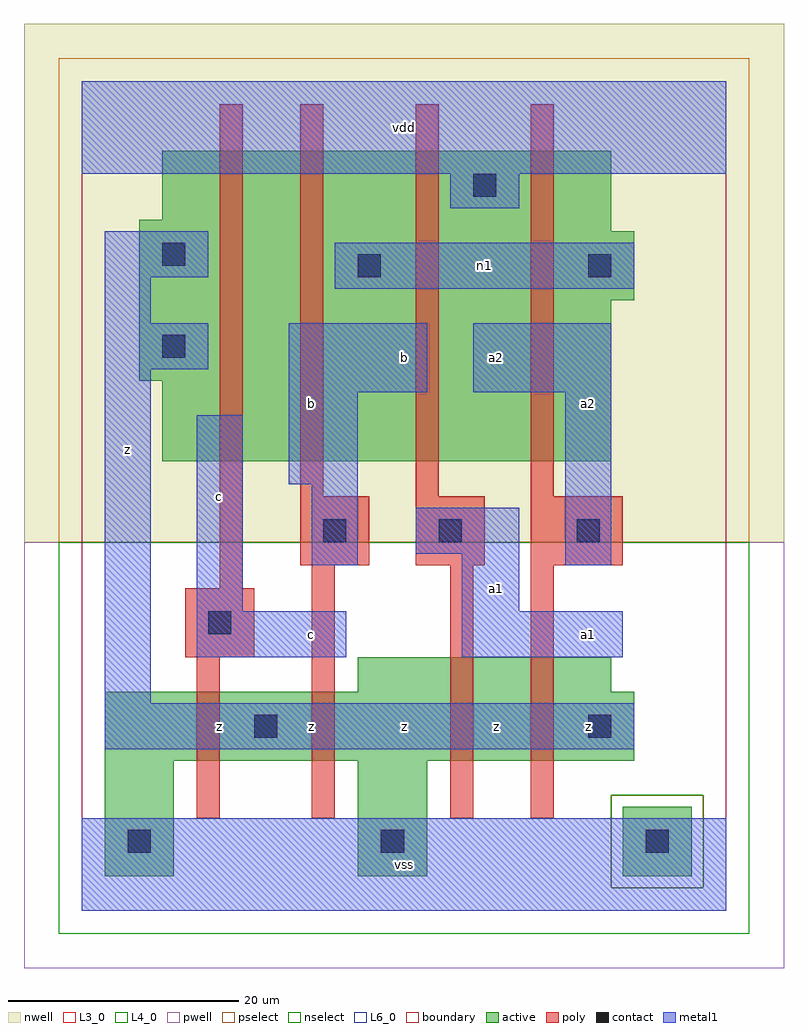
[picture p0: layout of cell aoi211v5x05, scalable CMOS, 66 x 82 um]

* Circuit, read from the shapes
.subckt aoi211v5x05 a1 a2 b c n1 vdd vss z
M1 z c vss vss nfet w=6u l=2u
M2 vss b z vss nfet w=6u l=2u
M3 n2 a1 vss vss nfet w=9u l=2u
M4 z a2 n2 vss nfet w=9u l=2u
M5 n3 c z n4 pfet w=27u l=2u
M6 n1 b n3 n4 pfet w=27u l=2u
M7 vdd a1 n1 n4 pfet w=27u l=2u
M8 n1 a2 vdd n4 pfet w=27u l=2u
.ends

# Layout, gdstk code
import gdstk
lib = gdstk.Library(unit=1e-6, precision=1e-09)
def R(c, l, rs):  # rectangles x0, y0, x1, y1
    for r in rs: c.add(gdstk.rectangle(r[:2], r[2:], *l))
def A(c, l, x, y, w, h, nx, ny, dx, dy):  # array of equal rectangles
    R(c, l, [(x+i*dx, y+j*dy, x+i*dx+w, y+j*dy+h) for i in range(nx) for j in range(ny)])
L3_0 = (3, 0)
L4_0 = (4, 0)
L6_0 = (6, 0)
contact = (25, 0)
pwell = (41, 0)
nwell = (42, 0)
active = (43, 0)
pselect = (44, 0)
nselect = (45, 0)
poly = (46, 0)
metal1 = (49, 0)
boundary = (63, 0)

aoi211v5x05 = lib.new_cell('aoi211v5x05')
R(aoi211v5x05, L3_0, [(2,3,8,13), (24,3,30,13), (2,13,48,19), (24,19,46,22)])
R(aoi211v5x05, L4_0, [(7,39,46,46), (5,46,46,53), (5,53,48,59), (5,59,46,60), (7,60,46,66)])
R(aoi211v5x05, L6_0, [(47,3,53,9)])
R(aoi211v5x05, contact, [(4,5,6,7), (26,5,28,7), (49,5,51,7), (15,15,17,17), (44,15,46,17), (11,24,13,26), (21,32,23,34), (31,32,33,34), (43,32,45,34), (7,48,9,50), (24,55,26,57), (44,55,46,57), (7,56,9,58), (34,62,36,64)])
R(aoi211v5x05, pwell, [(-5,-5,61,32)])
R(aoi211v5x05, nwell, [(-5,32,61,77)])
R(aoi211v5x05, active, [(2,3,8,13), (24,3,30,13), (47,3,53,9), (2,13,48,19), (24,19,46,22), (7,39,46,46), (5,46,46,53), (5,53,48,59), (5,59,46,60), (7,60,46,66)])
R(aoi211v5x05, pselect, [(46,2,54,10), (-2,32,58,74)])
R(aoi211v5x05, nselect, [(-2,-2,58,2), (-2,2,46,10), (54,2,58,10), (-2,10,58,32)])
A(aoi211v5x05, poly, 19, 36, 2, 34, 3, 1, 10, 0)
R(aoi211v5x05, poly, [(10,8,12,22), (20,8,22,30), (32,8,34,30), (39,8,41,30), (9,22,15,28), (12,28,14,70), (19,30,25,36), (29,30,35,36), (39,30,47,36)])
R(aoi211v5x05, metal1, [(0,0,56,8), (2,14,48,18), (2,18,6,47), (10,22,23,26), (33,22,47,26), (10,26,14,43), (33,26,38,31), (20,30,24,37), (42,30,46,45), (29,31,38,35), (18,37,24,45), (18,45,30,51), (34,45,46,51), (2,47,11,51), (2,51,6,55), (22,54,48,58), (2,55,11,59), (32,61,38,64), (0,64,56,72)])
R(aoi211v5x05, boundary, [(0,0,56,72)])
aoi211v5x05.add(gdstk.Label('n1', (35,56), layer=49, texttype=0))
aoi211v5x05.add(gdstk.Label('z', (4,40), layer=49, texttype=0))
aoi211v5x05.add(gdstk.Label('z', (20,16), layer=49, texttype=0))
aoi211v5x05.add(gdstk.Label('z', (12,16), layer=49, texttype=0))
aoi211v5x05.add(gdstk.Label('c', (20,24), layer=49, texttype=0))
aoi211v5x05.add(gdstk.Label('c', (12,36), layer=49, texttype=0))
aoi211v5x05.add(gdstk.Label('b', (20,44), layer=49, texttype=0))
aoi211v5x05.add(gdstk.Label('vss', (28,4), layer=49, texttype=0))
aoi211v5x05.add(gdstk.Label('z', (36,16), layer=49, texttype=0))
aoi211v5x05.add(gdstk.Label('z', (28,16), layer=49, texttype=0))
aoi211v5x05.add(gdstk.Label('a1', (36,28), layer=49, texttype=0))
aoi211v5x05.add(gdstk.Label('b', (28,48), layer=49, texttype=0))
aoi211v5x05.add(gdstk.Label('a2', (36,48), layer=49, texttype=0))
aoi211v5x05.add(gdstk.Label('vdd', (28,68), layer=49, texttype=0))
aoi211v5x05.add(gdstk.Label('z', (44,16), layer=49, texttype=0))
aoi211v5x05.add(gdstk.Label('a1', (44,24), layer=49, texttype=0))
aoi211v5x05.add(gdstk.Label('a2', (44,44), layer=49, texttype=0))

lib.write_gds('aoi211v5x05.gds')
